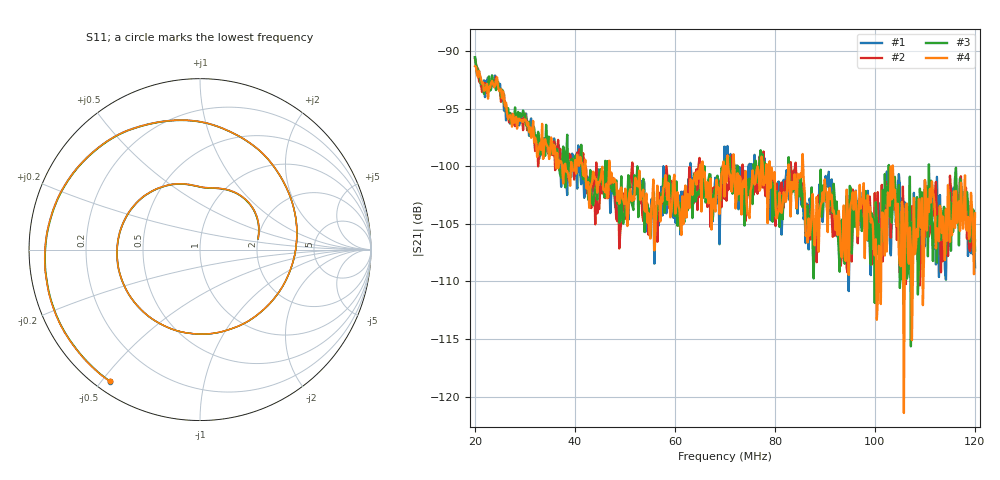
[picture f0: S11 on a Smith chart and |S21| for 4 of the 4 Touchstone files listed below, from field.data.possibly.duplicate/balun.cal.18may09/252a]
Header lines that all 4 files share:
! Anritsu VNA Master:  Model: MS2036C/10/77
! SN:  1601066
! Existing Calibration Information:
! TYPE:  Current Settings,  Active Cal Settings
! # POINTS:  500,  500
! START FREQ:  20.000 MHz,  20.000 MHz
! STOP FREQ:  120.000 MHz,  120.000 MHz
! SOURCE POWER:  High,  High
! IFBW:  50 Hz,  50 Hz
! AVG FACTOR:  1 ,  1
! REF PLANE 1:  0 mm,  0 mm
! REF PLANE 2:  0 mm,  0 mm
! CAL TYPE:  Full S11,  Full S11
! CAL METHOD:  SOLT,  SOLT
! CAL LINE TYPE:  Coax,  Coax
! DUT PORT 1:  K-Conn(F),  K-Conn(F)
! DUT PORT 2:  K-Conn(F),  K-Conn(F)
! CAL STATUS:  OK: Accuracy High,  --
# GHZ S DB R 50.0
! FREQ.GHZ  S11DB  S11A  S21DB  S21A  S12DB  S12A  S22DB  S22A
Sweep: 20 MHz to 120 MHz
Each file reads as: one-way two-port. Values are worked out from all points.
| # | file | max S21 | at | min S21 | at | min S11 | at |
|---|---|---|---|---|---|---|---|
| 1 | a.2a.m4.s2p | -90.55 dB | 20 MHz | -110.8 dB | 94.75 MHz | -9.2 dB | 120 MHz |
| 2 | a.2a.m7.s2p | -90.68 dB | 20 MHz | -110.5 dB | 101 MHz | -9.2 dB | 120 MHz |
| 3 | a.2a.m8.s2p | -90.55 dB | 20 MHz | -115.6 dB | 107.2 MHz | -9.3 dB | 120 MHz |
| 4 | a.2a.m9.s2p | -91.33 dB | 20 MHz | -121.4 dB | 105.8 MHz | -9.2 dB | 120 MHz |
